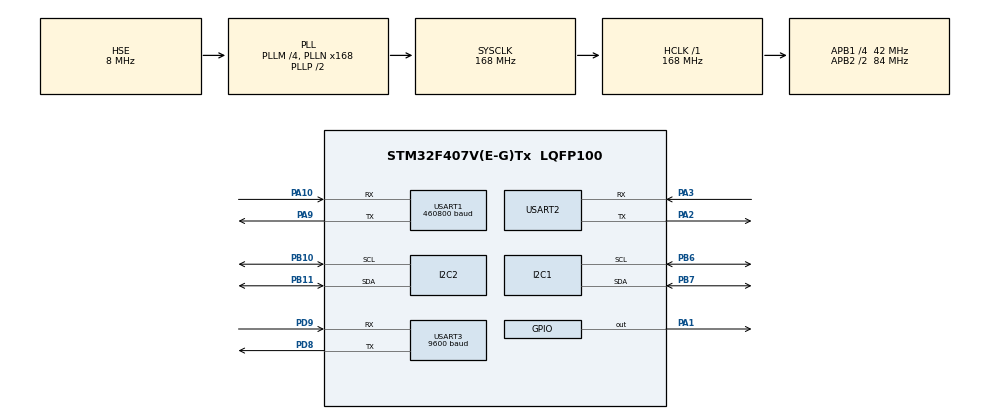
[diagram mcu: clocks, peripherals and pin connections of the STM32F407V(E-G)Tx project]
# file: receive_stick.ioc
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Dma.Request0=USART2_RX
Dma.Request1=USART1_RX
Dma.USART1_RX.1.Direction=DMA_PERIPH_TO_MEMORY
Dma.USART1_RX.1.FIFOMode=DMA_FIFOMODE_DISABLE
Dma.USART1_RX.1.Instance=DMA2_Stream2
Dma.USART1_RX.1.MemDataAlignment=DMA_MDATAALIGN_BYTE
Dma.USART1_RX.1.MemInc=DMA_MINC_ENABLE
Dma.USART1_RX.1.Mode=DMA_CIRCULAR
Dma.USART1_RX.1.PeriphDataAlignment=DMA_PDATAALIGN_BYTE
Dma.USART1_RX.1.PeriphInc=DMA_PINC_DISABLE
Dma.USART1_RX.1.Priority=DMA_PRIORITY_MEDIUM
Dma.USART2_RX.0.Direction=DMA_PERIPH_TO_MEMORY
Dma.USART2_RX.0.FIFOMode=DMA_FIFOMODE_DISABLE
Dma.USART2_RX.0.Instance=DMA1_Stream5
Dma.USART2_RX.0.MemDataAlignment=DMA_MDATAALIGN_BYTE
Dma.USART2_RX.0.MemInc=DMA_MINC_ENABLE
Dma.USART2_RX.0.Mode=DMA_NORMAL
Dma.USART2_RX.0.PeriphDataAlignment=DMA_PDATAALIGN_BYTE
Dma.USART2_RX.0.PeriphInc=DMA_PINC_DISABLE
Dma.USART2_RX.0.Priority=DMA_PRIORITY_HIGH
Mcu.Family=STM32F4
Mcu.Name=STM32F407V(E-G)Tx
Mcu.Package=LQFP100
NVIC.DMA1_Stream5_IRQn=true\:0\:0\:false\:false\:true\:false\:true\:true
NVIC.DMA2_Stream2_IRQn=true\:0\:0\:false\:false\:true\:false\:true\:true
NVIC.PriorityGroup=NVIC_PRIORITYGROUP_4
NVIC.USART2_IRQn=true\:0\:0\:false\:false\:true\:true\:true\:true
PA1.Signal=GPIO_Output
PA10.Mode=Asynchronous
PA10.Signal=USART1_RX
PA13.Mode=Serial_Wire
PA13.Signal=SYS_JTMS-SWDIO
PA14.Mode=Serial_Wire
PA14.Signal=SYS_JTCK-SWCLK
PA2.Mode=Asynchronous
PA2.Signal=USART2_TX
PA3.Mode=Asynchronous
PA3.Signal=USART2_RX
PA9.Mode=Asynchronous
PA9.Signal=USART1_TX
PB10.Mode=I2C
PB10.Signal=I2C2_SCL
PB11.Mode=I2C
PB11.Signal=I2C2_SDA
PB6.Mode=I2C
PB6.Signal=I2C1_SCL
PB7.Mode=I2C
PB7.Signal=I2C1_SDA
PD8.Mode=Asynchronous
PD8.Signal=USART3_TX
PD9.Mode=Asynchronous
PD9.Signal=USART3_RX
PH0-OSC_IN.Mode=HSE-External-Oscillator
PH0-OSC_IN.Signal=RCC_OSC_IN
PH1-OSC_OUT.Mode=HSE-External-Oscillator
PH1-OSC_OUT.Signal=RCC_OSC_OUT
ProjectManager.HeapSize=0x200
ProjectManager.StackSize=0x400
ProjectManager.TargetToolchain=STM32CubeIDE
RCC.48MHZClocksFreq_Value=84000000
RCC.AHBFreq_Value=168000000
RCC.APB1CLKDivider=RCC_HCLK_DIV4
RCC.APB1Freq_Value=42000000
RCC.APB1TimFreq_Value=84000000
RCC.APB2CLKDivider=RCC_HCLK_DIV2
RCC.APB2Freq_Value=84000000
RCC.APB2TimFreq_Value=168000000
RCC.CortexFreq_Value=168000000
RCC.HCLKFreq_Value=168000000
RCC.HSE_VALUE=8000000
RCC.HSI_VALUE=16000000
RCC.LSE_VALUE=32768
RCC.PLLM=4
RCC.PLLN=168
RCC.PLLSourceVirtual=RCC_PLLSOURCE_HSE
RCC.SYSCLKFreq_VALUE=168000000
RCC.SYSCLKSource=RCC_SYSCLKSOURCE_PLLCLK
RCC.VCOOutputFreq_Value=336000000
USART1.BaudRate=460800
USART1.VirtualMode=VM_ASYNC
USART2.VirtualMode=VM_ASYNC
USART3.BaudRate=9600
USART3.VirtualMode=VM_ASYNC
board=custom

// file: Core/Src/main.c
/* USER CODE BEGIN Header */
/**
  ******************************************************************************
  * @file           : main.c
  * @brief          : Main program body
  ******************************************************************************
  * @attention
  *
  * Copyright (c) 2026 STMicroelectronics.
  * All rights reserved.
  *
  * This software is licensed under terms that can be found in the LICENSE file
  * in the root directory of this software component.
  * If no LICENSE file comes with this software, it is provided AS-IS.
  *
  ******************************************************************************
  */
/* USER CODE END Header */
#include "main.h"

/* USER CODE BEGIN Includes */
#include "arm_angle.h"
#include "dwj_reader.h"
#include "ftepc_rs485.h"
#include "imu_oled_format.h"
#include "imu_parser.h"
#include "joystick_servo_map.h"
#include "motion_telemetry.h"
#include "oled_ssd1306.h"
#include "pca9685.h"
#include "stick_receiver.h"
#include "status_led.h"

#include <stdio.h>

/* USER CODE END Includes */

/* USER CODE BEGIN PTD */
typedef enum
{
  RS485_IDLE = 0,
  RS485_TX_BUSY,
  RS485_RX_BUSY
} Rs485PollState;

typedef enum
{
  DWJ_IDLE = 0,
  DWJ_WAIT_BIG_ARM,
  DWJ_WAIT_SMALL_ARM
} DwjPollState;

/* USER CODE END PTD */

/* USER CODE BEGIN PD */
#define USART2_DMA_RX_SIZE 256U
#define IMU_DMA_RX_SIZE 8192U
#define DATA_UPDATE_PERIOD_MS 100U
#define ENCODER485_SLAVE_ADDRESS 1U
#define ENCODER485_POLL_PERIOD_MS DATA_UPDATE_PERIOD_MS
#define ENCODER485_TIMEOUT_MS 300U
#define ENCODER485_REQUEST_LEN 8U
#define ENCODER485_RESPONSE_LEN 17U
#define ENCODER485_PULSE_START_REGISTER 0x0030U
#define ENCODER485_THREE_PULSE_REGISTERS 0x0006U
#define ENCODER485_FUNCTION_READ_HOLDING 0x03U
#define OLED_UPDATE_PERIOD_MS 500U
#define OLED_PAGE_PERIOD_MS 1500U
#define OLED_PAGE_COUNT 2U
#define OLED_LINE_SIZE 22U
#define TELEMETRY_PERIOD_MS DATA_UPDATE_PERIOD_MS
#define TELEMETRY_BUFFER_SIZE 256U
#define DWJ_POLL_PERIOD_MS DATA_UPDATE_PERIOD_MS

/* USER CODE END PD */

I2C_HandleTypeDef hi2c1;
I2C_HandleTypeDef hi2c2;

UART_HandleTypeDef huart1;
UART_HandleTypeDef huart2;
UART_HandleTypeDef huart3;
DMA_HandleTypeDef hdma_usart1_rx;
DMA_HandleTypeDef hdma_usart2_rx;

/* USER CODE BEGIN PV */
static uint8_t usart2_dma_rx[USART2_DMA_RX_SIZE];
static uint8_t imu_dma_rx[IMU_DMA_RX_SIZE];
static uint16_t imu_dma_last_pos;
static StickReceiver stick_receiver;
static StickData latest_stick;
static volatile uint8_t usart2_restart_requested;
static StatusLedTimer status_led_timer;
static JoystickServoTargets servo_targets;
static uint32_t last_valid_control_tick;
static uint8_t control_received;
static uint8_t control_failsafe_active;
static uint8_t pca9685_ready;
static ImuParser imu_parser;
static ImuSample imu_latest;
static uint8_t imu_sample_valid;
static float imu_yaw_deg;
static float imu_yaw_rate_deg_s;
static uint64_t imu_last_ts_ms;
static uint8_t imu_yaw_time_valid;
static Ftepc485_Data encoder_data;
static Ftepc485_Status encoder_status = FTEPC485_ERROR_UART;
static int32_t encoder_last_pulse[FTEPC485_CHANNEL_COUNT];
static uint32_t encoder_last_sample_tick;
static uint8_t encoder_has_last_sample;
static int32_t small_arm_angle_hundredths_deg;
static uint8_t rs485_request[ENCODER485_REQUEST_LEN];
static uint8_t rs485_response[ENCODER485_RESPONSE_LEN];
static Rs485PollState rs485_state;
static uint32_t rs485_state_tick;
static uint32_t last_encoder_poll_tick;
static uint8_t oled_ready;
static uint8_t oled_page;
static uint32_t last_oled_update_tick;
static uint32_t last_oled_page_tick;
static MotionTelemetry motion_telemetry;
static char telemetry_tx_buffer[TELEMETRY_BUFFER_SIZE];
static uint8_t telemetry_header_sent;
static volatile uint8_t telemetry_tx_busy;
static uint32_t last_telemetry_tick;
static DwjReadings dwj_readings;
static HAL_StatusTypeDef dwj_status = HAL_ERROR;
static DwjPollState dwj_state;
static uint32_t dwj_state_tick;
static uint32_t last_dwj_poll_tick;

/* USER CODE END PV */

void SystemClock_Config(void);
static void MX_GPIO_Init(void);
static void MX_DMA_Init(void);
static void MX_USART2_UART_Init(void);
static void MX_USART3_UART_Init(void);
static void MX_I2C1_Init(void);
static void MX_USART1_UART_Init(void);
static void MX_I2C2_Init(void);
/* USER CODE BEGIN PFP */
static HAL_StatusTypeDef USART2_StartReceiveToIdle(void);
static HAL_StatusTypeDef ApplyServoTargets(const JoystickServoTargets *targets);
static void ProcessReceivedFrames(void);
static void ServiceControlFailsafe(void);
static void Imu_RxStart(void);
static void Imu_UpdateYawFromSample(void);
static void ServiceImu(void);
static void ServiceEncoder485(void);
static void ServiceDwjReader(void);
static void ServiceOled(void);
static void ServiceTelemetry(void);
static void Rs485_StartPoll(uint32_t now_ms);
static void Rs485_HandleResponse(uint32_t now_ms);
static void FormatFixedHundredths(int32_t value, char *buffer,
                                  size_t buffer_size);
static void FillMotionTelemetry(MotionTelemetry *telemetry, uint32_t now_ms);

/* USER CODE END PFP */

/* USER CODE BEGIN 0 */
static HAL_StatusTypeDef USART2_StartReceiveToIdle(void)
{
  HAL_StatusTypeDef status;

  status = HAL_UARTEx_ReceiveToIdle_DMA(&huart2, usart2_dma_rx,
                                       sizeof(usart2_dma_rx));
  if (status == HAL_OK)
  {
    /* A complete frame is detected by IDLE or DMA transfer-complete. */
    __HAL_DMA_DISABLE_IT(huart2.hdmarx, DMA_IT_HT);
  }
  return status;
}

static HAL_StatusTypeDef ApplyServoTargets(const JoystickServoTargets *targets)
{
  uint8_t channel;

  if (targets == NULL)
  {
    return HAL_ERROR;
  }

  if (pca9685_ready == 0U)
  {
    if (Pca9685_Init(&hi2c1) != HAL_OK)
    {
      return HAL_ERROR;
    }
    pca9685_ready = 1U;
  }

  for (channel = 0U; channel < JOYSTICK_PCA_CHANNEL_COUNT; ++channel)
  {
    if (!JoystickServoMap_IsActiveChannel(channel))
    {
      continue;
    }
    if (Pca9685_SetPwm(&hi2c1, channel, 0U,
                       targets->pwm_count[channel]) != HAL_OK)
    {
      pca9685_ready = 0U;
      return HAL_ERROR;
    }
  }
  return HAL_OK;
}

static void ProcessReceivedFrames(void)
{
  char frame[STICK_FRAME_MAX_LEN];

  while (StickReceiver_Pop(&stick_receiver, frame, sizeof(frame)))
  {
    if (StickReceiver_ParseJson(frame, &latest_stick))
    {
      HAL_StatusTypeDef i2c_status;

      JoystickServoMap_Compute(latest_stick.x1, latest_stick.x2,
                               latest_stick.y1, latest_stick.y2,
                               latest_stick.z1, latest_stick.z2,
                               &servo_targets);
      i2c_status = ApplyServoTargets(&servo_targets);
      last_valid_control_tick = HAL_GetTick();
      control_received = 1U;
      control_failsafe_active = 0U;
      (void)i2c_status;
    }
  }
}

static void ServiceControlFailsafe(void)
{
  HAL_StatusTypeDef i2c_status;

  if ((control_received == 0U) || (control_failsafe_active != 0U) ||
      !JoystickServoMap_IsTimedOut(HAL_GetTick(), last_valid_control_tick))
  {
    return;
  }

  JoystickServoMap_SetNeutral(&servo_targets);
  i2c_status = ApplyServoTargets(&servo_targets);
  control_failsafe_active = 1U;
  (void)i2c_status;
}

static void Imu_NormalizeYaw(void)
{
  while (imu_yaw_deg >= 360.0f)
  {
    imu_yaw_deg -= 360.0f;
  }

  while (imu_yaw_deg < 0.0f)
  {
    imu_yaw_deg += 360.0f;
  }
}

static void Imu_UpdateYawFromSample(void)
{
  imu_yaw_rate_deg_s = imu_latest.gz;

  if (imu_yaw_time_valid != 0U)
  {
    uint64_t elapsed_ms = imu_latest.ts_ms - imu_last_ts_ms;

    if ((imu_latest.ts_ms > imu_last_ts_ms) && (elapsed_ms < 1000U))
    {
      imu_yaw_deg += imu_yaw_rate_deg_s * ((float)elapsed_ms / 1000.0f);
      Imu_NormalizeYaw();
    }
  }

  imu_last_ts_ms = imu_latest.ts_ms;
  imu_yaw_time_valid = 1U;
}

static void Imu_RxStart(void)
{
  imu_sample_valid = 0U;
  imu_yaw_deg = 0.0f;
  imu_yaw_rate_deg_s = 0.0f;
  imu_last_ts_ms = 0U;
  imu_yaw_time_valid = 0U;
  imu_dma_last_pos = 0U;
  imu_parser_init(&imu_parser);

  if (HAL_UART_Receive_DMA(&huart1, imu_dma_rx, sizeof(imu_dma_rx)) == HAL_OK)
  {
    __HAL_DMA_DISABLE_IT(huart1.hdmarx, DMA_IT_HT);
    __HAL_DMA_DISABLE_IT(huart1.hdmarx, DMA_IT_TC);
  }
}

static void Imu_FeedBytes(const uint8_t *data, uint16_t length)
{
  if ((data == NULL) || (length == 0U))
  {
    return;
  }

  if (imu_parser_feed(&imu_parser, data, length, &imu_latest) != 0U)
  {
    imu_sample_valid = 1U;
    Imu_UpdateYawFromSample();
  }
}

static void ServiceImu(void)
{
  uint16_t current_pos;

  if (huart1.hdmarx == NULL)
  {
    return;
  }

  current_pos = (uint16_t)(sizeof(imu_dma_rx) -
                           __HAL_DMA_GET_COUNTER(huart1.hdmarx));
  if (current_pos == imu_dma_last_pos)
  {
    return;
  }

  if (current_pos > imu_dma_last_pos)
  {
    Imu_FeedBytes(&imu_dma_rx[imu_dma_last_pos],
                  (uint16_t)(current_pos - imu_dma_last_pos));
  }
  else
  {
    Imu_FeedBytes(&imu_dma_rx[imu_dma_last_pos],
                  (uint16_t)(sizeof(imu_dma_rx) - imu_dma_last_pos));
    if (current_pos > 0U)
    {
      Imu_FeedBytes(imu_dma_rx, current_pos);
    }
  }

  imu_dma_last_pos = current_pos;
}

static void FormatFixedHundredths(int32_t value, char *buffer,
                                  size_t buffer_size)
{
  uint32_t magnitude;
  const char *sign;

  if (buffer_size == 0U)
  {
    return;
  }

  if (value < 0)
  {
    sign = "-";
    magnitude = (uint32_t)(-(value + 1)) + 1U;
  }
  else
  {
    sign = "";
    magnitude = (uint32_t)value;
  }

  (void)snprintf(buffer, buffer_size, "%s%lu.%02lu", sign,
                 (unsigned long)(magnitude / 100U),
                 (unsigned long)(magnitude % 100U));
}

static void FormatFixedTenths(int32_t value, char *buffer, size_t buffer_size)
{
  uint32_t magnitude;
  const char *sign;

  if (buffer_size == 0U)
  {
    return;
  }

  if (value < 0)
  {
    sign = "-";
    magnitude = (uint32_t)(-(value + 1)) + 1U;
  }
  else
  {
    sign = "";
    magnitude = (uint32_t)value;
  }

  (void)snprintf(buffer, buffer_size, "%s%lu.%01lu", sign,
                 (unsigned long)(magnitude / 10U),
                 (unsigned long)(magnitude % 10U));
}

static void OledWriteFixedRow(uint8_t row,
                              const char *prefix,
                              int32_t value,
                              const char *suffix)
{
  char value_text[18];
  char line[OLED_LINE_SIZE];

  FormatFixedHundredths(value, value_text, sizeof(value_text));
  (void)snprintf(line, sizeof(line), "%s%s%s",
                 prefix, value_text, suffix);
  OledSsd1306_WriteText(row, 0, line);
}

static void OledWriteTenthsRow(uint8_t row,
                               const char *prefix,
                               int32_t value,
                               const char *suffix)
{
  char value_text[18];
  char line[OLED_LINE_SIZE];

  FormatFixedTenths(value, value_text, sizeof(value_text));
  (void)snprintf(line, sizeof(line), "%s%s%s",
                 prefix, value_text, suffix);
  OledSsd1306_WriteText(row, 0, line);
}

static void OledWriteLengthSpeedPage(void)
{
  OledSsd1306_WriteText(0, 0, "LEN mm");
  OledWriteFixedRow(1U, "B:", encoder_data.length_hundredths_mm[0], "");
  OledWriteFixedRow(2U, "S:", encoder_data.length_hundredths_mm[1], "");
  OledWriteFixedRow(3U, "K:", encoder_data.length_hundredths_mm[2], "");
  OledSsd1306_WriteText(4U, 0, "SPD mm/s");
  OledWriteFixedRow(5U, "B:", encoder_data.speed_hundredths_mm_s[0], "");
  OledWriteFixedRow(6U, "S:", encoder_data.speed_hundredths_mm_s[1], "");
  OledWriteFixedRow(7U, "K:", encoder_data.speed_hundredths_mm_s[2], "");
}

static void OledWriteAngleImuPage(void)
{
  char line[OLED_LINE_SIZE];

  OledSsd1306_WriteText(0, 0, "ANG deg");
  OledWriteTenthsRow(1U, "B:", dwj_readings.big_arm.angle_tenths_deg, "");
  OledWriteFixedRow(2U, "S:", small_arm_angle_hundredths_deg, "");
  OledWriteTenthsRow(3U, "K:", dwj_readings.bucket.angle_tenths_deg, "");

  if (imu_sample_valid == 0U)
  {
    OledSsd1306_WriteText(4U, 0, "yaw: --");
    OledSsd1306_WriteText(5U, 0, "rate: --");
  }
  else
  {
    imu_oled_format_row(line, sizeof(line), "yaw", imu_yaw_deg);
    OledSsd1306_WriteText(4U, 0, line);
    imu_oled_format_row(line, sizeof(line), "rate", imu_yaw_rate_deg_s);
    OledSsd1306_WriteText(5U, 0, line);
  }

  (void)snprintf(line, sizeof(line), "R:%u A:%u I:%u",
                 (unsigned int)((encoder_status == FTEPC485_OK) ? 1U : 0U),
                 (unsigned int)((dwj_status == HAL_OK) ? 1U : 0U),
                 (unsigned int)((imu_sample_valid != 0U) ? 1U : 0U));
  OledSsd1306_WriteText(6U, 0, line);
  (void)snprintf(line, sizeof(line), "B:%ld K:%ldmV",
                 (long)dwj_readings.big_arm.mv,
                 (long)dwj_readings.bucket.mv);
  OledSsd1306_WriteText(7U, 0, line);
}

static void Rs485_BuildReadRequest(void)
{
  uint16_t crc;

  rs485_request[0] = ENCODER485_SLAVE_ADDRESS;
  rs485_request[1] = ENCODER485_FUNCTION_READ_HOLDING;
  rs485_request[2] = (uint8_t)(ENCODER485_PULSE_START_REGISTER >> 8);
  rs485_request[3] = (uint8_t)ENCODER485_PULSE_START_REGISTER;
  rs485_request[4] = (uint8_t)(ENCODER485_THREE_PULSE_REGISTERS >> 8);
  rs485_request[5] = (uint8_t)ENCODER485_THREE_PULSE_REGISTERS;
  crc = Ftepc485_Crc16(rs485_request, 6U);
  rs485_request[6] = (uint8_t)crc;
  rs485_request[7] = (uint8_t)(crc >> 8);
}

static void Rs485_StartPoll(uint32_t now_ms)
{
  if (rs485_state != RS485_IDLE)
  {
    return;
  }

  Rs485_BuildReadRequest();
  if (HAL_UART_Transmit_IT(&huart3, rs485_request,
                           sizeof(rs485_request)) == HAL_OK)
  {
    rs485_state = RS485_TX_BUSY;
    rs485_state_tick = now_ms;
  }
  else
  {
    encoder_status = FTEPC485_ERROR_UART;
  }
}

static void Rs485_ApplyPulses(const int32_t pulses[FTEPC485_CHANNEL_COUNT],
                              uint32_t now_ms)
{
  Ftepc485_ConvertPulses(pulses, &encoder_data);

  if (encoder_has_last_sample == 0U)
  {
    for (uint8_t channel = 0U; channel < FTEPC485_CHANNEL_COUNT; ++channel)
    {
      encoder_data.speed_hundredths_mm_s[channel] = 0;
      encoder_last_pulse[channel] = pulses[channel];
    }
    encoder_last_sample_tick = now_ms;
    encoder_has_last_sample = 1U;
  }
  else
  {
    uint32_t delta_ms = now_ms - encoder_last_sample_tick;
    if (delta_ms == 0U)
    {
      delta_ms = 1U;
    }

    for (uint8_t channel = 0U; channel < FTEPC485_CHANNEL_COUNT; ++channel)
    {
      int32_t delta_pulse = pulses[channel] - encoder_last_pulse[channel];
      encoder_data.speed_hundredths_mm_s[channel] =
          Ftepc485_DeltaToSpeedHundredthsMmS(channel,
                                             delta_pulse,
                                             delta_ms);
      encoder_last_pulse[channel] = pulses[channel];
    }
    encoder_last_sample_tick = now_ms;
  }

  small_arm_angle_hundredths_deg =
      ArmAngle_Channel2HundredthsDeg(encoder_data.length_hundredths_mm[1]);
}

static void Rs485_HandleResponse(uint32_t now_ms)
{
  int32_t pulses[FTEPC485_CHANNEL_COUNT];

  encoder_status = Ftepc485_ParseThreePulseResponse(
      rs485_response,
      sizeof(rs485_response),
      ENCODER485_SLAVE_ADDRESS,
      pulses);
  if (encoder_status == FTEPC485_OK)
  {
    Rs485_ApplyPulses(pulses, now_ms);
  }
}

static void ServiceEncoder485(void)
{
  uint32_t now_ms = HAL_GetTick();

  if ((rs485_state != RS485_IDLE) &&
      ((uint32_t)(now_ms - rs485_state_tick) >= ENCODER485_TIMEOUT_MS))
  {
    (void)HAL_UART_Abort(&huart3);
    rs485_state = RS485_IDLE;
    encoder_status = FTEPC485_ERROR_UART;
  }

  if ((uint32_t)(now_ms - last_encoder_poll_tick) >=
      ENCODER485_POLL_PERIOD_MS)
  {
    last_encoder_poll_tick = now_ms;
    Rs485_StartPoll(now_ms);
  }
}

static void ServiceDwjReader(void)
{
  uint32_t now_ms = HAL_GetTick();
  int16_t raw;
  int32_t mv;

  if (dwj_state == DWJ_IDLE)
  {
    if ((uint32_t)(now_ms - last_dwj_poll_tick) < DWJ_POLL_PERIOD_MS)
    {
      return;
    }

    last_dwj_poll_tick = now_ms;
    if (Dwj_StartConversion(&hi2c1, DWJ_ADS1115_CHANNEL_AIN0) == HAL_OK)
    {
      dwj_state = DWJ_WAIT_BIG_ARM;
      dwj_state_tick = now_ms;
    }
    else
    {
      dwj_status = HAL_ERROR;
    }
    return;
  }

  if ((uint32_t)(now_ms - dwj_state_tick) < DWJ_ADS1115_CONVERSION_DELAY_MS)
  {
    return;
  }

  if (dwj_state == DWJ_WAIT_BIG_ARM)
  {
    if (Dwj_ReadConversionRawMv(&hi2c1, &raw, &mv) != HAL_OK)
    {
      dwj_state = DWJ_IDLE;
      dwj_status = HAL_ERROR;
      return;
    }

    Dwj_UpdateBigArmReading(raw, mv, &dwj_readings.big_arm);
    if (Dwj_StartConversion(&hi2c1, DWJ_ADS1115_CHANNEL_AIN1) == HAL_OK)
    {
      dwj_state = DWJ_WAIT_SMALL_ARM;
      dwj_state_tick = now_ms;
    }
    else
    {
      dwj_state = DWJ_IDLE;
      dwj_status = HAL_ERROR;
    }
    return;
  }

  if (dwj_state == DWJ_WAIT_SMALL_ARM)
  {
    if (Dwj_ReadConversionRawMv(&hi2c1, &raw, &mv) == HAL_OK)
    {
      Dwj_UpdateBucketReading(raw, mv, &dwj_readings.bucket);
      dwj_status = HAL_OK;
    }
    else
    {
      dwj_status = HAL_ERROR;
    }
    dwj_state = DWJ_IDLE;
  }
}

static void ServiceOled(void)
{
  uint32_t now_ms = HAL_GetTick();

  if (oled_ready == 0U)
  {
    return;
  }

  if ((uint32_t)(now_ms - last_oled_page_tick) >= OLED_PAGE_PERIOD_MS)
  {
    last_oled_page_tick = now_ms;
    oled_page = (uint8_t)((oled_page + 1U) % OLED_PAGE_COUNT);
  }

  if ((uint32_t)(now_ms - last_oled_update_tick) < OLED_UPDATE_PERIOD_MS)
  {
    return;
  }
  last_oled_update_tick = now_ms;

  OledSsd1306_Clear();
  if (oled_page == 0U)
  {
    OledWriteLengthSpeedPage();
  }
  else
  {
    OledWriteAngleImuPage();
  }
  (void)OledSsd1306_Update();
}

static void FillMotionTelemetry(MotionTelemetry *telemetry, uint32_t now_ms)
{
  if (telemetry == NULL)
  {
    return;
  }

  telemetry->t_ms = now_ms;
  telemetry->s_boom = (float)encoder_data.length_hundredths_mm[0] / 100.0f;
  telemetry->s_stick = (float)encoder_data.length_hundredths_mm[1] / 100.0f;
  telemetry->s_bucket = (float)encoder_data.length_hundredths_mm[2] / 100.0f;
  telemetry->v_boom = (float)encoder_data.speed_hundredths_mm_s[0] / 100.0f;
  telemetry->v_stick = (float)encoder_data.speed_hundredths_mm_s[1] / 100.0f;
  telemetry->v_bucket = (float)encoder_data.speed_hundredths_mm_s[2] / 100.0f;
  telemetry->a_boom = (float)dwj_readings.big_arm.angle_tenths_deg / 10.0f;
  telemetry->a_stick = (float)small_arm_angle_hundredths_deg / 100.0f;
  telemetry->a_bucket = (float)dwj_readings.bucket.angle_tenths_deg / 10.0f;
  telemetry->yaw = imu_yaw_deg;
  telemetry->yaw_rate = imu_yaw_rate_deg_s;
  telemetry->deg_boom = servo_targets.big_arm_deg;
  telemetry->deg_stick = servo_targets.small_arm_deg;
  telemetry->deg_bucket = servo_targets.bucket_deg;
  telemetry->swing_speed = servo_targets.swing_percent;
  telemetry->pump_speed = servo_targets.pump_percent;
  telemetry->rs485_ok = (encoder_status == FTEPC485_OK) ? 1U : 0U;
  telemetry->adc_ok = (dwj_status == HAL_OK) ? 1U : 0U;
  telemetry->imu_ok = (imu_sample_valid != 0U) ? 1U : 0U;
}

static void ServiceTelemetry(void)
{
  int length;
  uint32_t now_ms;

  if (telemetry_tx_busy != 0U)
  {
    return;
  }

  if (telemetry_header_sent == 0U)
  {
    length = MotionTelemetry_BuildHeader(telemetry_tx_buffer,
                                         sizeof(telemetry_tx_buffer));
    if (length <= 0)
    {
      return;
    }

    if (HAL_UART_Transmit_IT(&huart2,
                             (uint8_t *)telemetry_tx_buffer,
                             (uint16_t)length) == HAL_OK)
    {
      telemetry_tx_busy = 1U;
      telemetry_header_sent = 1U;
    }
    return;
  }

  now_ms = HAL_GetTick();
  if ((uint32_t)(now_ms - last_telemetry_tick) < TELEMETRY_PERIOD_MS)
  {
    return;
  }
  last_telemetry_tick = now_ms;

  FillMotionTelemetry(&motion_telemetry, now_ms);
  length = MotionTelemetry_BuildRow(telemetry_tx_buffer,
                                    sizeof(telemetry_tx_buffer),
                                    &motion_telemetry);
  if (length <= 0)
  {
    return;
  }

  if (HAL_UART_Transmit_IT(&huart2,
                           (uint8_t *)telemetry_tx_buffer,
                           (uint16_t)length) == HAL_OK)
  {
    telemetry_tx_busy = 1U;
  }
}

/* USER CODE END 0 */

int main(void)
{

  /* MCU Configuration--------------------------------------------------------*/

  /* Reset of all peripherals, Initializes the Flash interface and the Systick. */
  HAL_Init();

  /* Configure the system clock */
  SystemClock_Config();

  /* Initialize all configured peripherals */
  MX_GPIO_Init();
  MX_DMA_Init();
  MX_USART2_UART_Init();
  MX_USART3_UART_Init();
  MX_I2C1_Init();
  MX_USART1_UART_Init();
  MX_I2C2_Init();
  /* USER CODE BEGIN 2 */
  /* PA1 LED is active-low, so start from the off state. */
  HAL_GPIO_WritePin(GPIOA, GPIO_PIN_1, GPIO_PIN_SET);
  StatusLedTimer_Init(&status_led_timer, HAL_GetTick());
  StickReceiver_Init(&stick_receiver);
  JoystickServoMap_SetNeutral(&servo_targets);
  (void)ApplyServoTargets(&servo_targets);
  Imu_RxStart();
  oled_ready = (OledSsd1306_Init(&hi2c2) == HAL_OK) ? 1U : 0U;
  last_encoder_poll_tick = HAL_GetTick();
  last_oled_update_tick = HAL_GetTick();
  last_oled_page_tick = HAL_GetTick();
  last_telemetry_tick = HAL_GetTick();
  last_dwj_poll_tick = HAL_GetTick();
  if (USART2_StartReceiveToIdle() != HAL_OK)
  {
    Error_Handler();
  }

  /* USER CODE END 2 */

  /* Infinite loop */
  /* USER CODE BEGIN WHILE */
  while (1)
  {
    if (StatusLedTimer_Poll(&status_led_timer, HAL_GetTick()))
    {
      HAL_GPIO_TogglePin(GPIOA, GPIO_PIN_1);
    }

    ServiceImu();
    ProcessReceivedFrames();
    ServiceControlFailsafe();
    ServiceEncoder485();
    ServiceDwjReader();
    ServiceOled();
    ServiceImu();
    ServiceTelemetry();

    if (usart2_restart_requested != 0U)
    {
      usart2_restart_requested = 0U;
      (void)HAL_UART_AbortReceive(&huart2);
      if (USART2_StartReceiveToIdle() != HAL_OK)
      {
        usart2_restart_requested = 1U;
      }
    }
    /* USER CODE END WHILE */

  }
}

void SystemClock_Config(void)
{
  RCC_OscInitTypeDef RCC_OscInitStruct = {0};
  RCC_ClkInitTypeDef RCC_ClkInitStruct = {0};

  /** Configure the main internal regulator output voltage
  */
  __HAL_RCC_PWR_CLK_ENABLE();
  __HAL_PWR_VOLTAGESCALING_CONFIG(PWR_REGULATOR_VOLTAGE_SCALE1);

  /** Initializes the RCC Oscillators according to the specified parameters
  * in the RCC_OscInitTypeDef structure.
  */
  RCC_OscInitStruct.OscillatorType = RCC_OSCILLATORTYPE_HSE;
  RCC_OscInitStruct.HSEState = RCC_HSE_ON;
  RCC_OscInitStruct.PLL.PLLState = RCC_PLL_ON;
  RCC_OscInitStruct.PLL.PLLSource = RCC_PLLSOURCE_HSE;
  RCC_OscInitStruct.PLL.PLLM = 4;
  RCC_OscInitStruct.PLL.PLLN = 168;
  RCC_OscInitStruct.PLL.PLLP = RCC_PLLP_DIV2;
  RCC_OscInitStruct.PLL.PLLQ = 4;
  if (HAL_RCC_OscConfig(&RCC_OscInitStruct) != HAL_OK)
  {
    Error_Handler();
  }

  /** Initializes the CPU, AHB and APB buses clocks
  */
  RCC_ClkInitStruct.ClockType = RCC_CLOCKTYPE_HCLK|RCC_CLOCKTYPE_SYSCLK
                              |RCC_CLOCKTYPE_PCLK1|RCC_CLOCKTYPE_PCLK2;
  RCC_ClkInitStruct.SYSCLKSource = RCC_SYSCLKSOURCE_PLLCLK;
  RCC_ClkInitStruct.AHBCLKDivider = RCC_SYSCLK_DIV1;
  RCC_ClkInitStruct.APB1CLKDivider = RCC_HCLK_DIV4;
  RCC_ClkInitStruct.APB2CLKDivider = RCC_HCLK_DIV2;

  if (HAL_RCC_ClockConfig(&RCC_ClkInitStruct, FLASH_LATENCY_5) != HAL_OK)
  {
    Error_Handler();
  }
}

static void MX_I2C1_Init(void)
{

  hi2c1.Instance = I2C1;
  hi2c1.Init.ClockSpeed = 100000;
  hi2c1.Init.DutyCycle = I2C_DUTYCYCLE_2;
  hi2c1.Init.OwnAddress1 = 0;
  hi2c1.Init.AddressingMode = I2C_ADDRESSINGMODE_7BIT;
  hi2c1.Init.DualAddressMode = I2C_DUALADDRESS_DISABLE;
  hi2c1.Init.OwnAddress2 = 0;
  hi2c1.Init.GeneralCallMode = I2C_GENERALCALL_DISABLE;
  hi2c1.Init.NoStretchMode = I2C_NOSTRETCH_DISABLE;
  if (HAL_I2C_Init(&hi2c1) != HAL_OK)
  {
    Error_Handler();
  }

}

static void MX_I2C2_Init(void)
{

  hi2c2.Instance = I2C2;
  hi2c2.Init.ClockSpeed = 100000;
  hi2c2.Init.DutyCycle = I2C_DUTYCYCLE_2;
  hi2c2.Init.OwnAddress1 = 0;
  hi2c2.Init.AddressingMode = I2C_ADDRESSINGMODE_7BIT;
  hi2c2.Init.DualAddressMode = I2C_DUALADDRESS_DISABLE;
  hi2c2.Init.OwnAddress2 = 0;
  hi2c2.Init.GeneralCallMode = I2C_GENERALCALL_DISABLE;
  hi2c2.Init.NoStretchMode = I2C_NOSTRETCH_DISABLE;
  if (HAL_I2C_Init(&hi2c2) != HAL_OK)
  {
    Error_Handler();
  }

}

static void MX_USART1_UART_Init(void)
{

  huart1.Instance = USART1;
  huart1.Init.BaudRate = 460800;
  huart1.Init.WordLength = UART_WORDLENGTH_8B;
  huart1.Init.StopBits = UART_STOPBITS_1;
  huart1.Init.Parity = UART_PARITY_NONE;
  huart1.Init.Mode = UART_MODE_TX_RX;
  huart1.Init.HwFlowCtl = UART_HWCONTROL_NONE;
  huart1.Init.OverSampling = UART_OVERSAMPLING_16;
  if (HAL_UART_Init(&huart1) != HAL_OK)
  {
    Error_Handler();
  }

}

static void MX_USART2_UART_Init(void)
{

  huart2.Instance = USART2;
  huart2.Init.BaudRate = 115200;
  huart2.Init.WordLength = UART_WORDLENGTH_8B;
  huart2.Init.StopBits = UART_STOPBITS_1;
  huart2.Init.Parity = UART_PARITY_NONE;
  huart2.Init.Mode = UART_MODE_TX_RX;
  huart2.Init.HwFlowCtl = UART_HWCONTROL_NONE;
  huart2.Init.OverSampling = UART_OVERSAMPLING_16;
  if (HAL_UART_Init(&huart2) != HAL_OK)
  {
    Error_Handler();
  }

}

static void MX_USART3_UART_Init(void)
{

  huart3.Instance = USART3;
  huart3.Init.BaudRate = 9600;
  huart3.Init.WordLength = UART_WORDLENGTH_8B;
  huart3.Init.StopBits = UART_STOPBITS_1;
  huart3.Init.Parity = UART_PARITY_NONE;
  huart3.Init.Mode = UART_MODE_TX_RX;
  huart3.Init.HwFlowCtl = UART_HWCONTROL_NONE;
  huart3.Init.OverSampling = UART_OVERSAMPLING_16;
  if (HAL_UART_Init(&huart3) != HAL_OK)
  {
    Error_Handler();
  }

}

static void MX_DMA_Init(void)
{

  /* DMA controller clock enable */
  __HAL_RCC_DMA1_CLK_ENABLE();
  __HAL_RCC_DMA2_CLK_ENABLE();

  /* DMA interrupt init */
  /* DMA1_Stream5_IRQn interrupt configuration */
  HAL_NVIC_SetPriority(DMA1_Stream5_IRQn, 0, 0);
  HAL_NVIC_EnableIRQ(DMA1_Stream5_IRQn);
  /* DMA2_Stream2_IRQn interrupt configuration */
  HAL_NVIC_SetPriority(DMA2_Stream2_IRQn, 0, 0);
  HAL_NVIC_EnableIRQ(DMA2_Stream2_IRQn);

}

static void MX_GPIO_Init(void)
{
  GPIO_InitTypeDef GPIO_InitStruct = {0};

  /* GPIO Ports Clock Enable */
  __HAL_RCC_GPIOH_CLK_ENABLE();
  __HAL_RCC_GPIOA_CLK_ENABLE();
  __HAL_RCC_GPIOB_CLK_ENABLE();
  __HAL_RCC_GPIOD_CLK_ENABLE();

  /*Configure GPIO pin Output Level */
  HAL_GPIO_WritePin(GPIOA, GPIO_PIN_1, GPIO_PIN_RESET);

  /*Configure GPIO pin : PA1 */
  GPIO_InitStruct.Pin = GPIO_PIN_1;
  GPIO_InitStruct.Mode = GPIO_MODE_OUTPUT_PP;
  GPIO_InitStruct.Pull = GPIO_NOPULL;
  GPIO_InitStruct.Speed = GPIO_SPEED_FREQ_LOW;
  HAL_GPIO_Init(GPIOA, &GPIO_InitStruct);

}

/* USER CODE BEGIN 4 */
void HAL_UART_RxCpltCallback(UART_HandleTypeDef *huart)
{
  if (huart->Instance == USART3)
  {
    Rs485_HandleResponse(HAL_GetTick());
    rs485_state = RS485_IDLE;
  }
}

void HAL_UART_TxCpltCallback(UART_HandleTypeDef *huart)
{
  if (huart->Instance == USART2)
  {
    telemetry_tx_busy = 0U;
  }
  else if ((huart->Instance == USART3) && (rs485_state == RS485_TX_BUSY))
  {
    if (HAL_UART_Receive_IT(&huart3, rs485_response,
                            sizeof(rs485_response)) == HAL_OK)
    {
      rs485_state = RS485_RX_BUSY;
      rs485_state_tick = HAL_GetTick();
    }
    else
    {
      rs485_state = RS485_IDLE;
      encoder_status = FTEPC485_ERROR_UART;
    }
  }
}

void HAL_UARTEx_RxEventCallback(UART_HandleTypeDef *huart, uint16_t Size)
{
  if (huart->Instance == USART2)
  {
    StickReceiver_FeedFromIsr(&stick_receiver, usart2_dma_rx, Size);
    if (USART2_StartReceiveToIdle() != HAL_OK)
    {
      usart2_restart_requested = 1U;
    }
  }
}

void HAL_UART_ErrorCallback(UART_HandleTypeDef *huart)
{
  if (huart->Instance == USART2)
  {
    telemetry_tx_busy = 0U;
    usart2_restart_requested = 1U;
  }
  else if (huart->Instance == USART1)
  {
    (void)HAL_UART_AbortReceive(&huart1);
    Imu_RxStart();
  }
  else if (huart->Instance == USART3)
  {
    (void)HAL_UART_Abort(&huart3);
    rs485_state = RS485_IDLE;
    encoder_status = FTEPC485_ERROR_UART;
  }
}

/* USER CODE END 4 */

void Error_Handler(void)
{
  __disable_irq();
  while (1)
  {
  }
}
